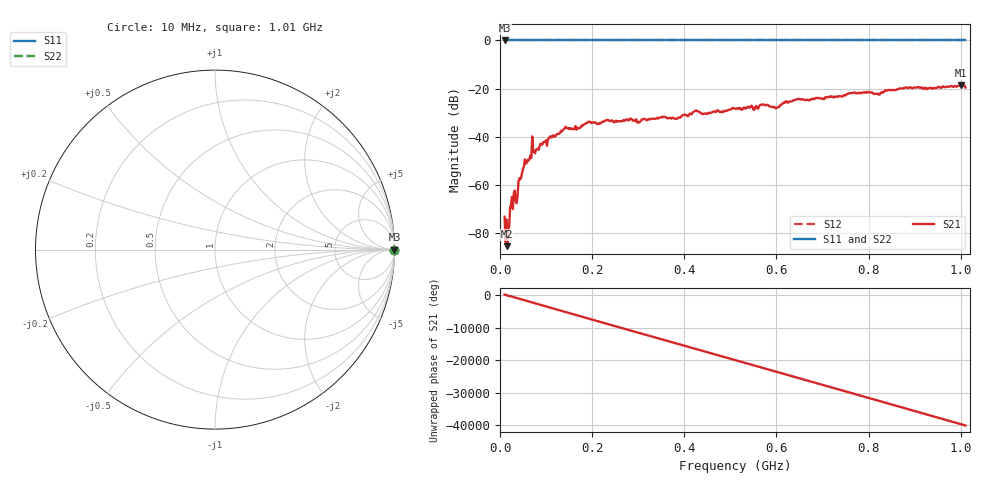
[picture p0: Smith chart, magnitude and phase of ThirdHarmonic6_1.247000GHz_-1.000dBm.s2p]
! 8/16/2025 1:18:13 PM
! C:\ANRITSUVNA\TEMP\TEMP.S2P
! CHANNEL.1
! TR.MEASUREMENT
! RAW.DATA
! RF.CORRECTION.OFF
! AVERAGING.OFF
! IF.BANDWIDTH: 5KHZ
! SWEEPTYPE:  FREQ.SWEEP(Linear)
! Reference Plane Port Info
! PORT:  PORT1  PORT2
! DISTANCE:  0  m  0  m
! TIME:  0  s  0  s
! PHASE.OFFSET:  0  deg.  0  deg.
! LOSS:  0  dB  0  dB
! REF.LOSS:  0  dB  0  dB
! REF.FREQ:  0  Hz  0  Hz
! Power Info
! POWER:  -20  dBm  -20  dBm
! EFF.POWER:  -20  dBm  -20  dBm
! SOURCE.ATTEN:  0  dB  0  dB
! TEST.ATTEN:  0  dB  0  dB
# GHZ S RI R 50.0
! FREQ.GHZ  S11RE  S11IM  S21RE  S21IM  S12RE  S12IM  S22RE  S22IM
!; PortSelection: Port_12
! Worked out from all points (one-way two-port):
!   501 points, 10 MHz to 1.01 GHz, reference 50 ohm
!   highest |S21| = -18.54 dB at 1 GHz (marker M1); lowest = -85.3 dB at 16 MHz (marker M2)
!   lowest |S11| = 0.0 dB at 10 MHz (marker M3)
!   |S11| at or under -10 dB: nowhere
!   |S22| runs from 0.0 to 0.0 dB; largest |S21 - S12| = 1.1
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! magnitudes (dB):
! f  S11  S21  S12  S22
! 10 MHz  0.0  -73.0  0.0  0.0
! 16 MHz  0.0  -85.3  0.0  0.0
! 28 MHz  0.0  -69.9  0.0  0.0
! 32 MHz  0.0  -62.2  0.0  0.0
! 38 MHz  0.0  -64.7  0.0  0.0
! 44 MHz  0.0  -57.5  0.0  0.0
! 52 MHz  0.0  -52.1  0.0  0.0
! 64 MHz  0.0  -49.2  0.0  0.0
! 70 MHz  0.0  -39.8  0.0  0.0
! 140 MHz  0.0  -36.5  0.0  0.0
! 178 MHz  0.0  -35.2  0.0  0.0
! 192 MHz  0.0  -33.7  0.0  0.0
! 302 MHz  0.0  -34.0  0.0  0.0
! 344 MHz  0.0  -32.3  0.0  0.0
! 510 MHz  0.0  -28.3  0.0  0.0
! 570 MHz  0.0  -26.5  0.0  0.0
! 600 MHz  0.0  -27.9  0.0  0.0
! 644 MHz  0.0  -24.4  0.0  0.0
! 678 MHz  0.0  -24.1  0.0  0.0
! 844 MHz  0.0  -20.4  0.0  0.0
! 1 GHz  0.0  -18.5  0.0  0.0
! 1.01 GHz  0.0  -19.5  0.0  0.0
